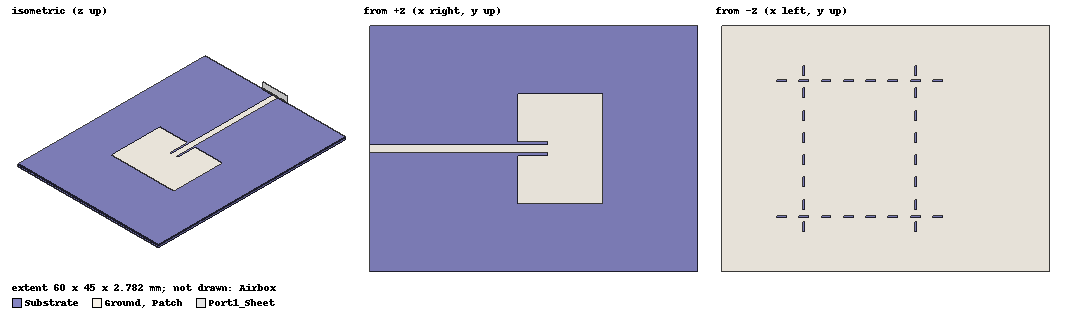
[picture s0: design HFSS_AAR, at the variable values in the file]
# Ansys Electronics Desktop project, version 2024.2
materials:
  vacuum: permittivity=1
  RO4350B: permittivity=3.48 permeability=1 dielectric_loss_tangent=0.0037
  pec: conductivity=1e+30
  air: permittivity=1.0006 permeability=1.0000004

design HFSS_AAR (HFSS, HFSS Terminal Network, model units mm)
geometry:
  Substrate [RO4350B] = box(corner=(-30mm, -22.5mm, 0mm), size=(60mm, 45mm, 0.762mm))
  Ground [pec] = rectangle(corner=(-30mm, -22.5mm, 0mm), x_size=60mm, y_size=45mm)
  Patch [pec] = rectangle(corner=(-2.99995mm, -10.01535mm, 0.762mm), x_size=15.5383mm, y_size=20.0307mm)
  Feed = rectangle(corner=(-30mm, -0.7991mm, 0.762mm), x_size=32.58775mm, y_size=1.5982mm)
  Patch.unite(Feed)
  TopCut_0_inset_gap_top = rectangle(corner=(-2.99995mm, 0.7991mm, 0.762mm), x_size=5.5877mm, y_size=0.4795mm)
  TopCut_1_inset_gap_bottom = rectangle(corner=(-2.99995mm, -1.2786mm, 0.762mm), x_size=5.5877mm, y_size=0.4795mm)
  Patch.subtract(TopCut_0_inset_gap_top, TopCut_1_inset_gap_bottom)
  GroundCut_0_ebg_0 = rectangle(corner=(-10.414932mm, -12.696838mm, 0mm), x_size=1.8239447mm, y_size=0.36297643mm)
  GroundCut_1_ebg_1 = rectangle(corner=(-6.3371719mm, -12.696838mm, 0mm), x_size=1.8239447mm, y_size=0.36297643mm)
  GroundCut_2_ebg_2 = rectangle(corner=(-2.2594121mm, -12.696838mm, 0mm), x_size=1.8239447mm, y_size=0.36297643mm)
  GroundCut_3_ebg_3 = rectangle(corner=(1.8183478mm, -12.696838mm, 0mm), x_size=1.8239447mm, y_size=0.36297643mm)
  GroundCut_4_ebg_4 = rectangle(corner=(5.8961076mm, -12.696838mm, 0mm), x_size=1.8239447mm, y_size=0.36297643mm)
  GroundCut_5_ebg_5 = rectangle(corner=(9.9738674mm, -12.696838mm, 0mm), x_size=1.8239447mm, y_size=0.36297643mm)
  GroundCut_6_ebg_6 = rectangle(corner=(14.051627mm, -12.696838mm, 0mm), x_size=1.8239447mm, y_size=0.36297643mm)
  GroundCut_7_ebg_7 = rectangle(corner=(18.129387mm, -12.696838mm, 0mm), x_size=1.8239447mm, y_size=0.36297643mm)
  GroundCut_8_ebg_8 = rectangle(corner=(-10.414932mm, 12.333862mm, 0mm), x_size=1.8239447mm, y_size=0.36297643mm)
  GroundCut_9_ebg_9 = rectangle(corner=(-6.3371719mm, 12.333862mm, 0mm), x_size=1.8239447mm, y_size=0.36297643mm)
  GroundCut_10_ebg_10 = rectangle(corner=(-2.2594121mm, 12.333862mm, 0mm), x_size=1.8239447mm, y_size=0.36297643mm)
  GroundCut_11_ebg_11 = rectangle(corner=(1.8183478mm, 12.333862mm, 0mm), x_size=1.8239447mm, y_size=0.36297643mm)
  GroundCut_12_ebg_12 = rectangle(corner=(5.8961076mm, 12.333862mm, 0mm), x_size=1.8239447mm, y_size=0.36297643mm)
  GroundCut_13_ebg_13 = rectangle(corner=(9.9738674mm, 12.333862mm, 0mm), x_size=1.8239447mm, y_size=0.36297643mm)
  GroundCut_14_ebg_14 = rectangle(corner=(14.051627mm, 12.333862mm, 0mm), x_size=1.8239447mm, y_size=0.36297643mm)
  GroundCut_15_ebg_15 = rectangle(corner=(18.129387mm, 12.333862mm, 0mm), x_size=1.8239447mm, y_size=0.36297643mm)
  GroundCut_16_ebg_16 = rectangle(corner=(-5.6814382mm, -15.184132mm, 0mm), x_size=0.36297643mm, y_size=1.8239447mm)
  GroundCut_17_ebg_17 = rectangle(corner=(-5.6814382mm, -11.106372mm, 0mm), x_size=0.36297643mm, y_size=1.8239447mm)
  GroundCut_18_ebg_18 = rectangle(corner=(-5.6814382mm, -7.0286121mm, 0mm), x_size=0.36297643mm, y_size=1.8239447mm)
  GroundCut_19_ebg_19 = rectangle(corner=(-5.6814382mm, -2.9508522mm, 0mm), x_size=0.36297643mm, y_size=1.8239447mm)
  GroundCut_20_ebg_20 = rectangle(corner=(-5.6814382mm, 1.1269076mm, 0mm), x_size=0.36297643mm, y_size=1.8239447mm)
  GroundCut_21_ebg_21 = rectangle(corner=(-5.6814382mm, 5.2046674mm, 0mm), x_size=0.36297643mm, y_size=1.8239447mm)
  GroundCut_22_ebg_22 = rectangle(corner=(-5.6814382mm, 9.2824272mm, 0mm), x_size=0.36297643mm, y_size=1.8239447mm)
  GroundCut_23_ebg_23 = rectangle(corner=(-5.6814382mm, 13.360187mm, 0mm), x_size=0.36297643mm, y_size=1.8239447mm)
  GroundCut_24_ebg_24 = rectangle(corner=(14.856862mm, -15.184132mm, 0mm), x_size=0.36297643mm, y_size=1.8239447mm)
  GroundCut_25_ebg_25 = rectangle(corner=(14.856862mm, -11.106372mm, 0mm), x_size=0.36297643mm, y_size=1.8239447mm)
  GroundCut_26_ebg_26 = rectangle(corner=(14.856862mm, -7.0286121mm, 0mm), x_size=0.36297643mm, y_size=1.8239447mm)
  GroundCut_27_ebg_27 = rectangle(corner=(14.856862mm, -2.9508522mm, 0mm), x_size=0.36297643mm, y_size=1.8239447mm)
  GroundCut_28_ebg_28 = rectangle(corner=(14.856862mm, 1.1269076mm, 0mm), x_size=0.36297643mm, y_size=1.8239447mm)
  GroundCut_29_ebg_29 = rectangle(corner=(14.856862mm, 5.2046674mm, 0mm), x_size=0.36297643mm, y_size=1.8239447mm)
  GroundCut_30_ebg_30 = rectangle(corner=(14.856862mm, 9.2824272mm, 0mm), x_size=0.36297643mm, y_size=1.8239447mm)
  GroundCut_31_ebg_31 = rectangle(corner=(14.856862mm, 13.360187mm, 0mm), x_size=0.36297643mm, y_size=1.8239447mm)
  Ground.subtract(GroundCut_0_ebg_0, GroundCut_1_ebg_1, GroundCut_2_ebg_2, GroundCut_3_ebg_3, GroundCut_4_ebg_4, GroundCut_5_ebg_5, GroundCut_6_ebg_6, GroundCut_7_ebg_7, GroundCut_8_ebg_8, GroundCut_9_ebg_9, GroundCut_10_ebg_10, GroundCut_11_ebg_11, GroundCut_12_ebg_12, GroundCut_13_ebg_13, GroundCut_14_ebg_14, GroundCut_15_ebg_15, GroundCut_16_ebg_16, GroundCut_17_ebg_17, GroundCut_18_ebg_18, GroundCut_19_ebg_19, GroundCut_20_ebg_20, GroundCut_21_ebg_21, GroundCut_22_ebg_22, GroundCut_23_ebg_23, GroundCut_24_ebg_24, GroundCut_25_ebg_25, GroundCut_26_ebg_26, GroundCut_27_ebg_27, GroundCut_28_ebg_28, GroundCut_29_ebg_29, GroundCut_30_ebg_30, GroundCut_31_ebg_31)
  Airbox [air] = box(corner=(-30mm, -42.5mm, -20mm), size=(80mm, 85mm, 40.762mm))
  Port1_Sheet = rectangle(corner=(-30mm, -3.9955mm, -0.02mm), y_size=7.991mm, z_size=2.782mm)
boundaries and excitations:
  Copper_PEC: Perfect E Objects=[Ground, Patch]
  Radiation: Radiation Objects=Airbox
  Port1: Wave Port Objects=Port1_Sheet WavePortType=Modal NumModes=1 Modes{Mode1{CharImp=Zpi RenormImp=50ohm}}
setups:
  Setup1: HfssDriven Frequency=5GHz MaxDeltaS=0.02 MaximumPasses=10 MinimumPasses=1 MinimumConvergedPasses=1 PercentRefinement=30 BasisOrder=1 PortAccuracy=2 DrivenSolverType="Direct Solver"
    sweep Sweep_4_6GHz: 4GHz to 6GHz, 101 points; Type=Interpolating SaveRadFields InterpTolerance=0.5 InterpMaxSolns=250 InterpUsePortImped=false PassivityErrorTolerance=0.0001
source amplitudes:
  Port1:1: 1V 0deg
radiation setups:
  InfiniteSphere_EH_Cuts: Infinite Sphere Theta=-180deg..180deg step 1deg Phi=-90deg..90deg step 90deg
